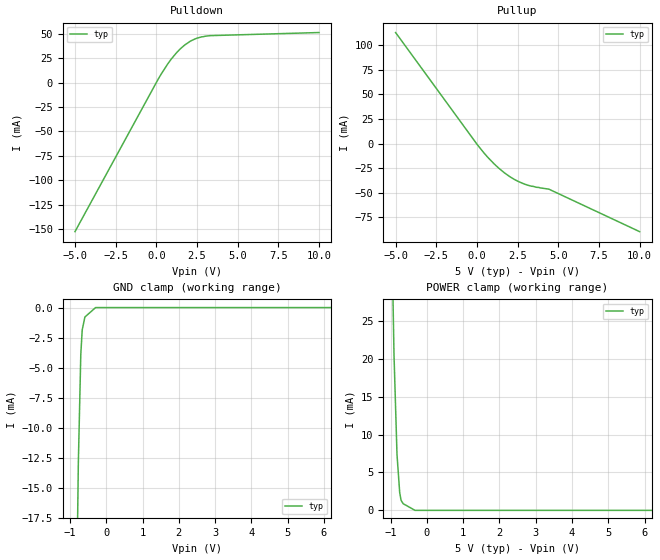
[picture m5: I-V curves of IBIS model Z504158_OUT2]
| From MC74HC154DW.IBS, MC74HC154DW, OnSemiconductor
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| (C) COPYRIGHT 1993-2000
| MENTOR GRAPHICS CORPORATION
| ICX STANDARD LIBRARY, ICX PROJECT MODELING,
| ICX CUSTOM MODELING, ICX VENDOR MODEL
| ALL RIGHTS RESERVED.
| THE FOLLOWING ARE TRADEMARKS OR SERVICE MARKS OF
| MENTOR GRAPHICS CORPORATION:ICX (R), ICX STANDARD
| LIBRARY(R), ICX PROJECT MODELING(R), ICX CUSTOM
| MODELING(R), qualityIBIS(TM), MODELVIEWER(TM),
| AND MODELEDITOR(TM)
| ALL COPIES OF SOFTWARE, INCLUDING BUT NOT LIMITED TO
| ANY MODIFICATIONS, ENHANCEMENTS OR DERIVATIVE WORKS,
| MUST CONTAIN ALL MENTOR GRAPHICS CORPORATION'S
| NOTICES AND LEGENDS, INCLUDING THOSE EMBEDDED IN
| SOFTWARE AND THOSE AFFIXED TO SOFTWARE MEDIUM
| AND CONTAINER, AS RECEIVED FROM MENTOR GRAPHICS
| CORPORATION.
| Model Application Version 1.89 2/18/99.
[Model] Z504158_OUT2
Model_type Output
Vref=0.000V
Rref=500.0Mohms
Cref=50.00pF
Vmeas=2.500V
C_comp 8.000pF NA NA
| variable typ   min   max
[Voltage Range] 5.000V NA NA
[POWER Clamp Reference] 5.000V NA NA
[Pullup Reference] 5.000V NA NA
[Pulldown Reference] 0.000V NA NA
[GND Clamp Reference] 0.000V NA NA
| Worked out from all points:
|   slope of the pulldown table from 0 to 0.75 V, typ, clamps not added: 37.1 ohm
|   slope of the pullup table from 0 to 0.75 V, typ, clamps not added: 50.8 ohm
|   GND clamp passes 1 mA (typ) near -0.61 V on its own axis
|   POWER clamp passes 1 mA (typ) near -0.67 V on its own axis
[GND Clamp]
-5V       -820.8mA   NA         NA
-1.016V   -70.67mA   NA         NA
-771.2mV  -12.96mA   NA         NA
-703.1mV  -3.881mA   NA         NA
-664.1mV  -1.854mA   NA         NA
-590.2mV  -784.2uA   NA         NA
-295.1mV  0A         NA         NA
10V       0A         NA         NA
[Pulldown]
-5V       -152.8mA   NA         NA
102.6mV   3.286mA    NA         NA
917.9mV   24.24mA    NA         NA
1.231V    30.52mA    NA         NA
1.739V    38.6mA     NA         NA
2.095V    42.62mA    NA         NA
2.529V    45.87mA    NA         NA
3.306V    48.28mA    NA         NA
10V       51.46mA    NA         NA
[Pullup]
-5V       112.7mA    NA         NA
21mV      -1.079mA   NA         NA
664mV     -13.92mA   NA         NA
1.078V    -20.95mA   NA         NA
1.689V    -29.7mA    NA         NA
2.316V    -36.55mA   NA         NA
2.911V    -41.04mA   NA         NA
3.667V    -44.38mA   NA         NA
4.424V    -46.27mA   NA         NA
10V       -89.38mA   NA         NA
[POWER Clamp]
-5V       1.608A     NA         NA
-1.318V   150.6mA    NA         NA
-1.06V    61.28mA    NA         NA
-908mV    20.6mA     NA         NA
-825mV    7.352mA    NA         NA
-751mV    2.359mA    NA         NA
-713mV    1.33mA     NA         NA
-656mV    882.5uA    NA         NA
-328mV    0A         NA         NA
10V       0A         NA         NA
[Ramp]
| variable typ min max
dV/dt_r 2.753/1.497n NA NA
dV/dt_f 2.753/1.355n NA NA
R_load = 500.0Ohms
